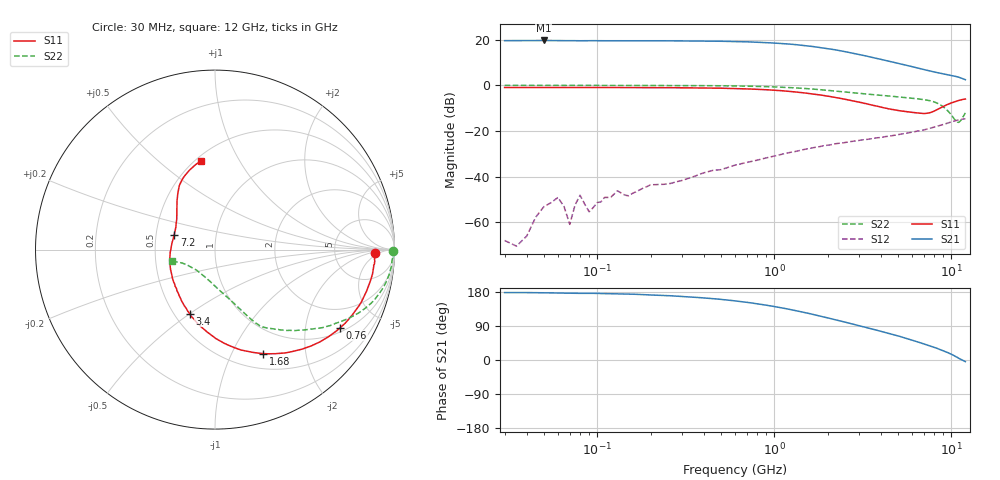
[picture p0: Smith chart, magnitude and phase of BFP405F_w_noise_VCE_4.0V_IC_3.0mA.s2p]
! Infineon Technologies  Discrete & RF Semiconductors
! BFP405F
! VCE =  4.0 V,  IC =  3.0 mA
! Common Emitter S-Parameters:  Nov 2015
# GHz  S  MA  R  50
!  f  S11  S21  S12  S22
! GHz  MAG  ANG  MAG  ANG  MAG  ANG  MAG  ANG
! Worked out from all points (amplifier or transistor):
!   239 points, 30 MHz to 12 GHz, reference 50 ohm
!   highest |S21| = 19.6 dB at 50 MHz (marker M1)
!   |S21| within 3 dB of that: start of sweep to 1.777 GHz
!   unconditionally stable (mu >= 1): 30.1 MHz to 39.53 MHz; 3.558 GHz to end of sweep
!   at 300 MHz: K = -0.01, MSG = 30.6 dB, |S12| = -41.7 dB
!   at 1.88 GHz: K = 0.48, MSG = 21.5 dB, |S12| = -26.6 dB
!   at 12 GHz: K = 1.56, MAG = 4.2 dB, |S12| = -14.7 dB
!   lowest NFmin = 1.11 dB at 450 MHz
!   S11 on the Smith chart (normalised r, x): 30 MHz: 17, -3; 760 MHz: 1.16, -3.10; 1.68 GHz: 0.68, -1.33; 3.4 GHz: 0.60, -0.50; 7.2 GHz: 0.62, +0.11; 12 GHz: 0.54, +0.70
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0.03  0.892 -1.1  9.467 177.9  0.0004 -51.1  0.9918 -0.5
0.035  0.8905 -1.3  9.47 177.9  0.0003 8.6  0.991 -0.6
0.05  0.8902 -2.3  9.558 177.2  0.0022 17.8  0.9926 -0.9
0.06  0.8942 -2.6  9.46 176.9  0.0035 56.8  0.9906 -1.0
0.07  0.8921 -2.9  9.465 176.2  0.0009 33.8  0.9897 -1.1
0.08  0.8894 -3.3  9.411 175.9  0.0039 40.5  0.9913 -1.6
0.085  0.8904 -3.5  9.441 176.0  0.0025 57.9  0.9915 -1.8
0.09  0.8914 -3.7  9.471 176.0  0.0017 101.2  0.9918 -1.9
0.14  0.8893 -6.0  9.447 174.5  0.0041 82.5  0.992 -2.7
0.24  0.8855 -10.3  9.402 170.2  0.0068 79.9  0.9884 -4.8
0.4  0.8711 -17.2  9.31 163.8  0.0121 82.2  0.9817 -7.8
0.6  0.847 -25.5  9.061 156.0  0.0178 79.0  0.966 -11.7
0.76  0.8223 -31.9  8.815 149.9  0.0219 76.5  0.9488 -14.7
1.1  0.7586 -45.0  8.191 137.7  0.0308 70.6  0.9054 -20.6
1.64  0.6466 -63.8  7.065 120.8  0.0426 63.1  0.8265 -28.1
1.68  0.6392 -65.1  6.973 119.8  0.0434 62.3  0.8203 -28.6
2.24  0.5352 -82.4  5.907 105.5  0.0528 56.5  0.7444 -35.5
3.4  0.3832 -111.7  4.249 84.3  0.0658 50.6  0.636 -45.2
4.5  0.3021 -137.2  3.315 69.5  0.0777 47.5  0.5785 -50.7
7.2  0.242 159.7  2.147 40.5  0.1082 42.9  0.4751 -60.5
10.8  0.4533 110.2  1.528 6.9  0.1715 29.7  0.1561 -119.0
12  0.4982 99.0  1.322 -4.3  0.1849 23.7  0.2482 -165.2
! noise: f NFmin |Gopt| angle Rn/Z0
0.45  1.11  0.5  6  0.37
0.9  1.12  0.47  14  0.41
1.5  1.21  0.44  20  0.35
1.9  1.25  0.42  27  0.35
2.4  1.43  0.39  37  0.36
3  1.5  0.37  47  0.33
3.5  1.54  0.36  57  0.31
4.5  1.72  0.3  73  0.26
5.5  1.97  0.19  88  0.16
